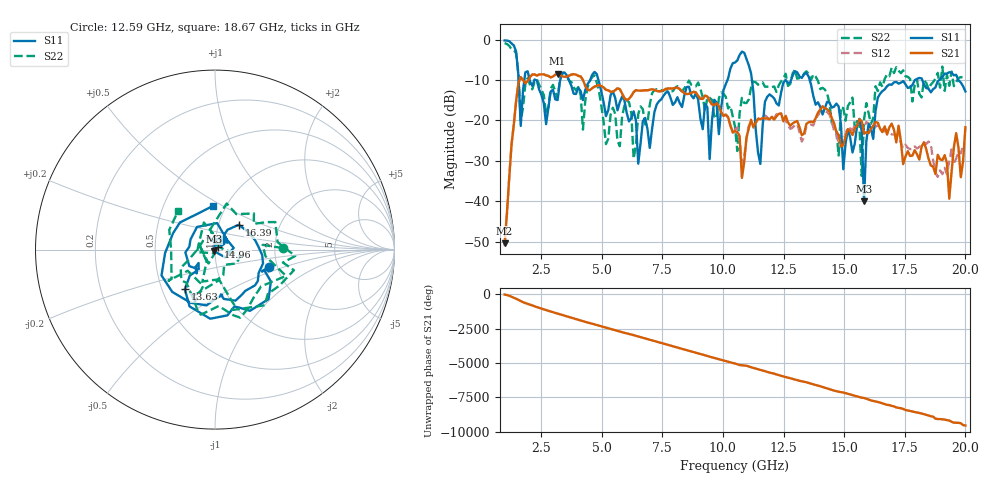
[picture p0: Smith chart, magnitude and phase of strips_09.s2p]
!Agilent Technologies,N5230A,MY45001629,A.07.50.67
!Agilent N5230A: A.07.50.67
!Date: Monday, June 05, 2017 16:30:03
!Correction: S11(Full 2 Port(1,2))
!S21(Full 2 Port(1,2))
!S12(Full 2 Port(1,2))
!S22(Full 2 Port(1,2))
!S2P File: Measurements: S11, S21, S12, S22:
# Hz S  dB  R 50
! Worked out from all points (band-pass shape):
!   201 points, 1 GHz to 20 GHz, reference 50 ohm
!   highest |S21| = -8.45 dB at 3.185 GHz (marker M1); lowest = -50.4 dB at 1 GHz (marker M2)
!   |S21| within 3 dB of the highest: 1.555 GHz to 4.325 GHz (2.77 GHz wide, 94.2 % of centre); 4.794 GHz to 4.971 GHz (177.4 MHz wide, 3.63 % of centre)
!   lowest |S11| = -40.0 dB at 15.82 GHz (marker M3), VSWR 1.02, Z = 49.3 - j0.699 ohm
!   |S11| at or under -10 dB: 4.868 GHz to 10.19 GHz (5.321 GHz wide, 70.7 % of centre); 11.2 GHz to 12.81 GHz (1.616 GHz wide, 13.5 % of centre); 13.58 GHz to 17.93 GHz (4.346 GHz wide, 27.6 % of centre)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
!   |S22| runs from -33.8 to -0.9 dB; largest |S21 - S12| = 0.04
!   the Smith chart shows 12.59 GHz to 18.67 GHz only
!   S11 on the Smith chart (normalised r, x): 12.59 GHz: 1.81, -0.39; 13.63 GHz: 0.65, -0.31; 14.96 GHz: 1.04, +0.04; 16.39 GHz: 1.25, +0.36; 18.67 GHz: 0.87, +0.45
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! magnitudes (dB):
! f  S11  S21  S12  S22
! 1 GHz  -0.2  -50.4  -51.1  -0.9
! 1.57 GHz  -8.9  -10.7  -10.7  -8.6
! 3.185 GHz  -15.0  -8.5  -8.5  -14.5
! 4.23 GHz  -15.0  -10.0  -10.0  -22.3
! 6.51 GHz  -30.7  -12.6  -12.7  -18.5
! 7.365 GHz  -15.3  -12.8  -12.8  -12.5
! 9.455 GHz  -29.6  -15.3  -15.2  -14.4
! 10.5 GHz  -5.7  -22.7  -22.3  -21.5
! 11.16 GHz  -8.4  -19.8  -20.5  -11.8
! 11.54 GHz  -30.8  -19.7  -19.0  -10.8
! 12.59 GHz  -10.0  -18.9  -20.1  -8.5
! 13.63 GHz  -11.1  -20.3  -21.0  -10.0
! 13.73 GHz  -14.0  -20.5  -21.3  -8.6
! 14.78 GHz  -16.6  -23.6  -25.5  -28.7
! 14.96 GHz  -32.1  -26.1  -24.9  -17.0
! 15.63 GHz  -19.6  -19.7  -20.6  -21.4
! 15.72 GHz  -22.7  -20.1  -21.3  -33.8
! 15.82 GHz  -40.0  -23.3  -22.0  -19.8
! 16.39 GHz  -14.3  -20.6  -21.2  -12.7
! 16.86 GHz  -11.1  -21.7  -23.0  -9.1
! 18.67 GHz  -12.3  -31.5  -29.8  -10.5
! 20 GHz  -12.8  -21.7  -25.7  -9.9
